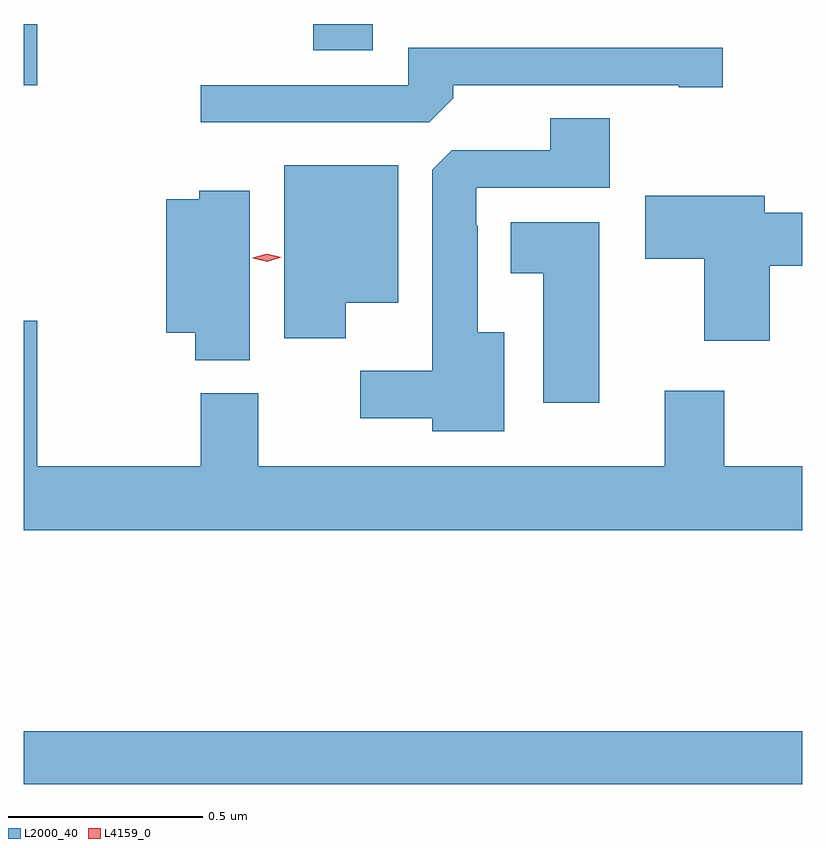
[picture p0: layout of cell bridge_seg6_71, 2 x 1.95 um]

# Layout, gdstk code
import gdstk
lib = gdstk.Library(unit=1e-6, precision=1e-09)
def R(c, l, rs):  # rectangles x0, y0, x1, y1
    for r in rs: c.add(gdstk.rectangle(r[:2], r[2:], *l))
def P(c, l, *ps):  # polygons
    for p in ps: c.add(gdstk.Polygon(p, *l))
L2000_40 = (2000, 40)
L4159_0 = (4159, 0)

bridge_seg6_71 = lib.new_cell('bridge_seg6_71')
R(bridge_seg6_71, L2000_40, [(644.657,969.328,646.657,969.464), (644.657,971.124,644.692,971.281), (645.401,971.213,645.553,971.281)])
P(bridge_seg6_71, L2000_40, [(645.761,971.09),(645.761,971.124),(646.34,971.124),(646.34,971.119),(646.453,971.119),(646.453,971.22),(645.645,971.22),(645.645,971.124),(645.111,971.124),(645.111,971.028),(645.699,971.028)],
  [(645.892,970.489),(645.823,970.489),(645.823,970.763),(645.819,970.763),(645.819,970.86),(646.163,970.86),(646.163,971.039),(646.01,971.039),(646.01,970.956),(645.756,970.956),(645.707,970.907),(645.707,970.39),(645.522,970.39),(645.522,970.268),(645.707,970.268),(645.707,970.235),(645.892,970.235)],
  [(645.484,970.565),(645.619,970.565),(645.619,970.918),(645.326,970.918),(645.326,970.473),(645.484,970.473)],
  [(645.238,970.852),(645.108,970.852),(645.108,970.831),(645.023,970.831),(645.023,970.487),(645.097,970.487),(645.097,970.417),(645.238,970.417)],
  [(646.574,970.66),(646.657,970.66),(646.657,970.796),(646.561,970.796),(646.561,970.84),(646.254,970.84),(646.254,970.678),(646.406,970.678),(646.406,970.467),(646.574,970.467)],
  [(646.135,970.771),(645.908,970.771),(645.908,970.64),(645.992,970.64),(645.992,970.308),(646.135,970.308)],
  [(646.304,970.339),(646.304,970.144),(645.259,970.144),(645.259,970.332),(645.112,970.332),(645.112,970.144),(644.692,970.144),(644.692,970.519),(644.657,970.519),(644.657,969.98),(646.657,969.98),(646.657,970.144),(646.457,970.144),(646.457,970.339)])
P(bridge_seg6_71, L4159_0, [(645.282,970.67),(645.245,970.679),(645.245,970.679),(645.245,970.68),(645.281,970.69),(645.318,970.681),(645.318,970.681),(645.318,970.681)])

lib.write_gds('bridge_seg6_71.gds')
